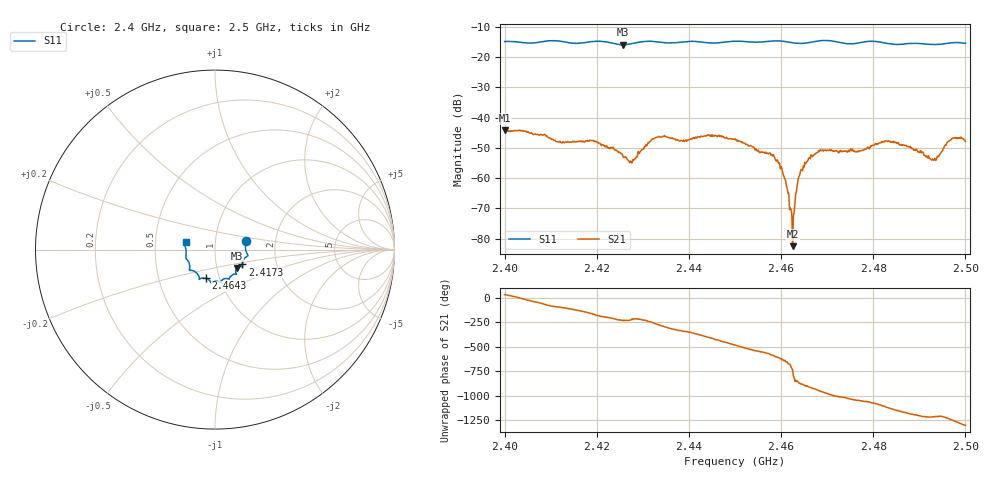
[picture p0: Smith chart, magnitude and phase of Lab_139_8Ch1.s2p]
# Hz S RI R 50
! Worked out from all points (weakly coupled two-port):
!   601 points, 2.4 GHz to 2.5 GHz, reference 50 ohm
!   highest |S21| = -44.15 dB at 2.4 GHz (marker M1); lowest = -82.5 dB at 2.4625 GHz (marker M2)
!   lowest |S11| = -15.9 dB at 2.4257 GHz (marker M3), VSWR 1.38, Z = 62.4 - j13.1 ohm
!   |S11| at or under -10 dB: start of sweep to end of sweep
!   S12 and S22 are empty: the file has one direction only
!   S11 on the Smith chart (normalised r, x): 2.4 GHz: 1.41, +0.14; 2.4173 GHz: 1.34, -0.23; 2.4643 GHz: 0.86, -0.28; 2.5 GHz: 0.72, +0.06
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2.4e9  0.1736 0.0496  0.00532 0.0032  0 0  0 0
2.416667e9  0.153 -0.0752  -0.00299 -0.00261  0 0  0 0
2.417333e9  0.1523 -0.0825  -0.00323 -0.00224  0 0  0 0
2.425667e9  0.1223 -0.1025  -0.00147 0.0018  0 0  0 0
2.427667e9  0.1151 -0.1207  -0.00143 0.00108  0 0  0 0
2.433333e9  0.1126 -0.1366  0.000468 0.00476  0 0  0 0
2.45e9  0.0296 -0.1807  -0.00248 -0.00372  0 0  0 0
2.458833e9  -0.0211 -0.1841  -0.000842 0.00177  0 0  0 0
2.4605e9  -0.0244 -0.1808  0.000211 0.00111  0 0  0 0
2.461167e9  -0.0261 -0.1773  0.000302 0.000681  0 0  0 0
2.462167e9  -0.0304 -0.1714  0.000299 6.74e-05  0 0  0 0
2.4625e9  -0.0325 -0.1694  7.16e-05 -2.25e-05  0 0  0 0
2.463e9  -0.0361 -0.1664  -0.000252 -0.000278  0 0  0 0
2.463667e9  -0.0428 -0.1633  -0.000676 -0.000615  0 0  0 0
2.464333e9  -0.0501 -0.1604  -0.00131 -0.000466  0 0  0 0
2.466667e9  -0.0762 -0.1596  -0.00214 0.000824  0 0  0 0
2.469e9  -0.0874 -0.1662  -0.00139 0.00258  0 0  0 0
2.476667e9  -0.1233 -0.1174  0.00229 0.00163  0 0  0 0
2.483333e9  -0.1407 -0.0896  0.00302 -0.00284  0 0  0 0
2.493167e9  -0.1607 -0.0118  -0.00136 -0.00142  0 0  0 0
2.497167e9  -0.1705 0.0273  -0.00447 -0.000962  0 0  0 0
2.5e9  -0.1634 0.0417  -0.00302 0.00272  0 0  0 0
